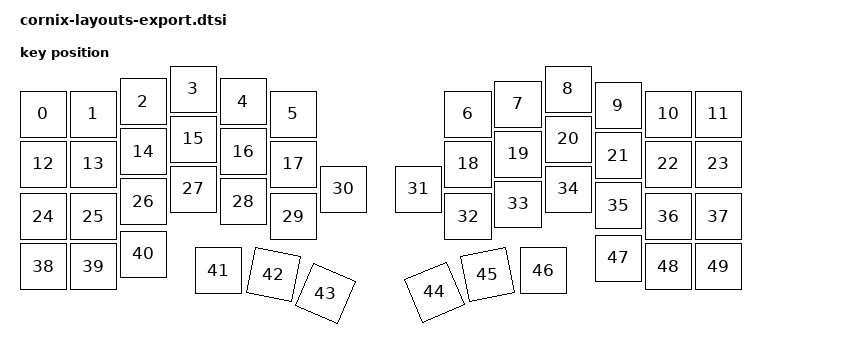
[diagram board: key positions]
/ {
    layout_50: layout_50 {
        compatible = "zmk,physical-layout";
        display-name = "50";

        keys  //                     w   h    x    y     rot    rx    ry
            = <&key_physical_attrs 100 100    0   50       0     0     0>
            , <&key_physical_attrs 100 100  100   50       0     0     0>
            , <&key_physical_attrs 100 100  200   25       0     0     0>
            , <&key_physical_attrs 100 100  300    0       0     0     0>
            , <&key_physical_attrs 100 100  400   25       0     0     0>
            , <&key_physical_attrs 100 100  500   50       0     0     0>
            , <&key_physical_attrs 100 100  850   50       0     0     0>
            , <&key_physical_attrs 100 100  950   30       0     0     0>
            , <&key_physical_attrs 100 100 1050    0       0     0     0>
            , <&key_physical_attrs 100 100 1150   33       0     0     0>
            , <&key_physical_attrs 100 100 1250   50       0     0     0>
            , <&key_physical_attrs 100 100 1350   50       0     0     0>
            , <&key_physical_attrs 100 100    0  150       0     0     0>
            , <&key_physical_attrs 100 100  100  150       0     0     0>
            , <&key_physical_attrs 100 100  200  125       0     0     0>
            , <&key_physical_attrs 100 100  300  100       0     0     0>
            , <&key_physical_attrs 100 100  400  125       0     0     0>
            , <&key_physical_attrs 100 100  500  150       0     0     0>
            , <&key_physical_attrs 100 100  850  150       0     0     0>
            , <&key_physical_attrs 100 100  950  130       0     0     0>
            , <&key_physical_attrs 100 100 1050  100       0     0     0>
            , <&key_physical_attrs 100 100 1150  133       0     0     0>
            , <&key_physical_attrs 100 100 1250  150       0     0     0>
            , <&key_physical_attrs 100 100 1350  150       0     0     0>
            , <&key_physical_attrs 100 100    0  255       0     0     0>
            , <&key_physical_attrs 100 100  100  255       0     0     0>
            , <&key_physical_attrs 100 100  200  225       0     0     0>
            , <&key_physical_attrs 100 100  300  200       0     0     0>
            , <&key_physical_attrs 100 100  400  225       0     0     0>
            , <&key_physical_attrs 100 100  500  255       0     0     0>
            , <&key_physical_attrs 100 100  600  200       0     0     0>
            , <&key_physical_attrs 100 100  750  200       0     0     0>
            , <&key_physical_attrs 100 100  850  255       0     0     0>
            , <&key_physical_attrs 100 100  950  230       0     0     0>
            , <&key_physical_attrs 100 100 1050  200       0     0     0>
            , <&key_physical_attrs 100 100 1150  233       0     0     0>
            , <&key_physical_attrs 100 100 1250  255       0     0     0>
            , <&key_physical_attrs 100 100 1350  255       0     0     0>
            , <&key_physical_attrs 100 100    0  355       0     0     0>
            , <&key_physical_attrs 100 100  100  355       0     0     0>
            , <&key_physical_attrs 100 100  200  330       0     0     0>
            , <&key_physical_attrs 100 100  350  363       0     0     0>
            , <&key_physical_attrs 100 100  450  370    1193   500   475>
            , <&key_physical_attrs 100 100  550  365    2300   500   475>
            , <&key_physical_attrs 100 100  764  538 (-2300)   500   475>
            , <&key_physical_attrs 100 100  900  375 (-1193)   925   475>
            , <&key_physical_attrs 100 100 1000  363       0     0     0>
            , <&key_physical_attrs 100 100 1150  338       0     0     0>
            , <&key_physical_attrs 100 100 1250  355       0     0     0>
            , <&key_physical_attrs 100 100 1350  355       0     0     0>
            ;
    };

    layout_42: layout_42 {
        compatible = "zmk,physical-layout";
        display-name = "42";

        keys  //                     w   h    x    y     rot    rx    ry
            = <&key_physical_attrs 100 100    0   50       0     0     0>
            , <&key_physical_attrs 100 100  100   50       0     0     0>
            , <&key_physical_attrs 100 100  200   25       0     0     0>
            , <&key_physical_attrs 100 100  300    0       0     0     0>
            , <&key_physical_attrs 100 100  400   25       0     0     0>
            , <&key_physical_attrs 100 100  500   50       0     0     0>
            , <&key_physical_attrs 100 100  850   50       0     0     0>
            , <&key_physical_attrs 100 100  950   30       0     0     0>
            , <&key_physical_attrs 100 100 1050    0       0     0     0>
            , <&key_physical_attrs 100 100 1150   33       0     0     0>
            , <&key_physical_attrs 100 100 1250   50       0     0     0>
            , <&key_physical_attrs 100 100 1350   50       0     0     0>
            , <&key_physical_attrs 100 100    0  150       0     0     0>
            , <&key_physical_attrs 100 100  100  150       0     0     0>
            , <&key_physical_attrs 100 100  200  125       0     0     0>
            , <&key_physical_attrs 100 100  300  100       0     0     0>
            , <&key_physical_attrs 100 100  400  125       0     0     0>
            , <&key_physical_attrs 100 100  500  150       0     0     0>
            , <&key_physical_attrs 100 100  850  150       0     0     0>
            , <&key_physical_attrs 100 100  950  130       0     0     0>
            , <&key_physical_attrs 100 100 1050  100       0     0     0>
            , <&key_physical_attrs 100 100 1150  133       0     0     0>
            , <&key_physical_attrs 100 100 1250  150       0     0     0>
            , <&key_physical_attrs 100 100 1350  150       0     0     0>
            , <&key_physical_attrs 100 100    0  255       0     0     0>
            , <&key_physical_attrs 100 100  100  255       0     0     0>
            , <&key_physical_attrs 100 100  200  225       0     0     0>
            , <&key_physical_attrs 100 100  300  200       0     0     0>
            , <&key_physical_attrs 100 100  400  225       0     0     0>
            , <&key_physical_attrs 100 100  500  255       0     0     0>
            , <&key_physical_attrs 100 100  600  200       0     0     0>
            , <&key_physical_attrs 100 100  750  200       0     0     0>
            , <&key_physical_attrs 100 100  850  255       0     0     0>
            , <&key_physical_attrs 100 100  950  230       0     0     0>
            , <&key_physical_attrs 100 100 1050  200       0     0     0>
            , <&key_physical_attrs 100 100 1150  233       0     0     0>
            , <&key_physical_attrs 100 100 1250  255       0     0     0>
            , <&key_physical_attrs 100 100 1350  255       0     0     0>
            , <&key_physical_attrs 100 100    0  355       0     0     0>
            , <&key_physical_attrs 100 100  100  355       0     0     0>
            , <&key_physical_attrs 100 100  200  330       0     0     0>
            , <&key_physical_attrs 100 100  350  363       0     0     0>
            , <&key_physical_attrs 100 100  450  370    1193   500   475>
            , <&key_physical_attrs 100 100  550  365    2300   500   475>
            , <&key_physical_attrs 100 100  764  538 (-2300)   500   475>
            , <&key_physical_attrs 100 100  900  375 (-1193)   925   475>
            , <&key_physical_attrs 100 100 1000  363       0     0     0>
            , <&key_physical_attrs 100 100 1150  338       0     0     0>
            , <&key_physical_attrs 100 100 1250  355       0     0     0>
            , <&key_physical_attrs 100 100 1350  355       0     0     0>
    };

    position_map {
        compatible = "zmk,physical-layout-position-map";

        layout_50 {
            physical-layout = <&layout_50>;
            positions
                = < 0  1  2  3  4  5  6  7  8  9 10 11 12 13 14 15>
                , <16 17 18 19 20 21 22 23 24 25 26 27 28 29 30 31>
                , <32 33 34 35 36 37 38 39 40 41 42 43 44 45 46 47>
                , <48 49>
                ;
        };

        layout_42 {
            physical-layout = <&layout_42>;
            positions
                = < 0  1  2  3  4  5  6  7  8  9 10 11 12 13 14 15>
                , <16 17 18 19 20 21 22 23 24 25 26 27 28 29 30 31>
                , <32 33 34 35 36 37 41 42 43 44 45 46 38 39 40 47>
                , <48 49>
                ;
        };
    };
};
